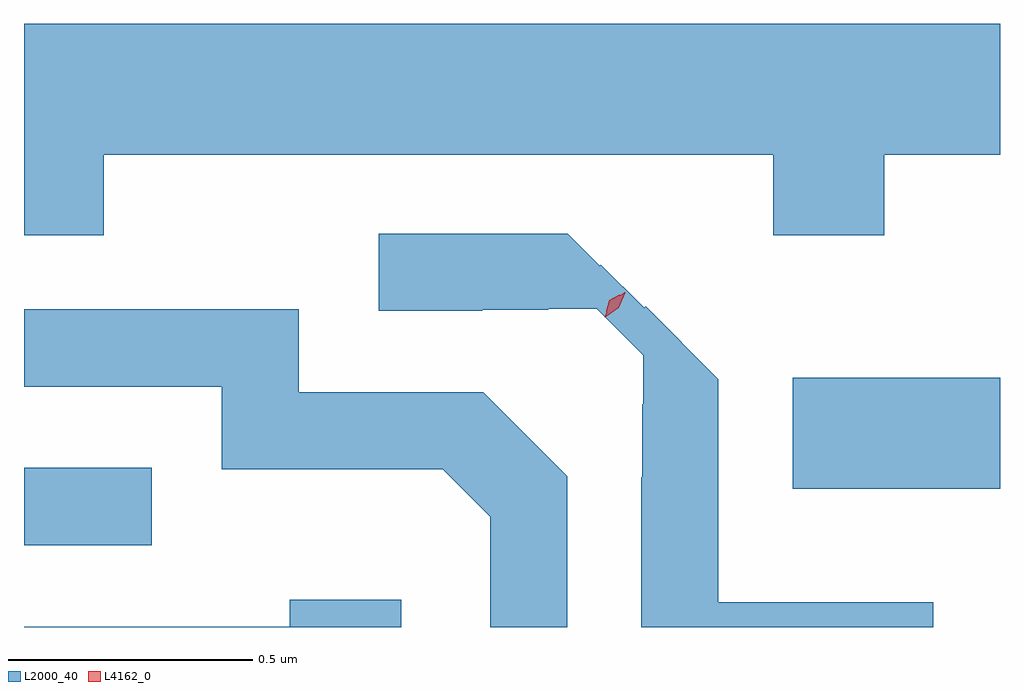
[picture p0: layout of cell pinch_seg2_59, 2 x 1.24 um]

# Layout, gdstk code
import gdstk
lib = gdstk.Library(unit=1e-6, precision=1e-09)
def R(c, l, rs):  # rectangles x0, y0, x1, y1
    for r in rs: c.add(gdstk.rectangle(r[:2], r[2:], *l))
def P(c, l, *ps):  # polygons
    for p in ps: c.add(gdstk.Polygon(p, *l))
L2000_40 = (2000, 40)
L4162_0 = (4162, 0)

pinch_seg2_59 = lib.new_cell('pinch_seg2_59')
R(pinch_seg2_59, L2000_40, [(1217.666,1111.896,1217.928,1112.054), (1219.241,1112.011,1219.666,1112.239)])
P(pinch_seg2_59, L2000_40, [(1217.829,1112.696),(1219.201,1112.696),(1219.201,1112.531),(1219.429,1112.531),(1219.429,1112.696),(1219.666,1112.696),(1219.666,1112.964),(1217.666,1112.964),(1217.666,1112.531),(1217.829,1112.531)],
  [(1219.529,1111.779),(1219.089,1111.779),(1219.089,1112.236),(1218.94,1112.385),(1218.937,1112.382),(1218.848,1112.471),(1218.846,1112.468),(1218.78,1112.534),(1218.393,1112.534),(1218.393,1112.376),(1218.605,1112.376),(1218.605,1112.378),(1218.74,1112.378),(1218.74,1112.38),(1218.84,1112.38),(1218.935,1112.285),(1218.935,1112.185),(1218.933,1112.185),(1218.933,1112.035),(1218.931,1112.035),(1218.931,1111.728),(1219.529,1111.728)],
  [(1218.779,1112.037),(1218.607,1112.209),(1218.229,1112.209),(1218.229,1112.379),(1217.666,1112.379),(1217.666,1112.221),(1218.071,1112.221),(1218.071,1112.051),(1218.524,1112.051),(1218.621,1111.954),(1218.621,1111.728),(1218.779,1111.728)],
  [(1218.439,1111.784),(1218.211,1111.784),(1218.211,1111.729),(1217.666,1111.729),(1217.666,1111.728),(1218.439,1111.728)])
P(pinch_seg2_59, L4162_0, [(1218.856,1112.363),(1218.856,1112.364),(1218.869,1112.395),(1218.897,1112.414),(1218.898,1112.414),(1218.898,1112.413),(1218.885,1112.382),(1218.857,1112.363)],
  [(1218.859,1112.374),(1218.859,1112.375),(1218.865,1112.398),(1218.886,1112.409),(1218.887,1112.409),(1218.887,1112.408),(1218.881,1112.385),(1218.86,1112.374)])

lib.write_gds('pinch_seg2_59.gds')
